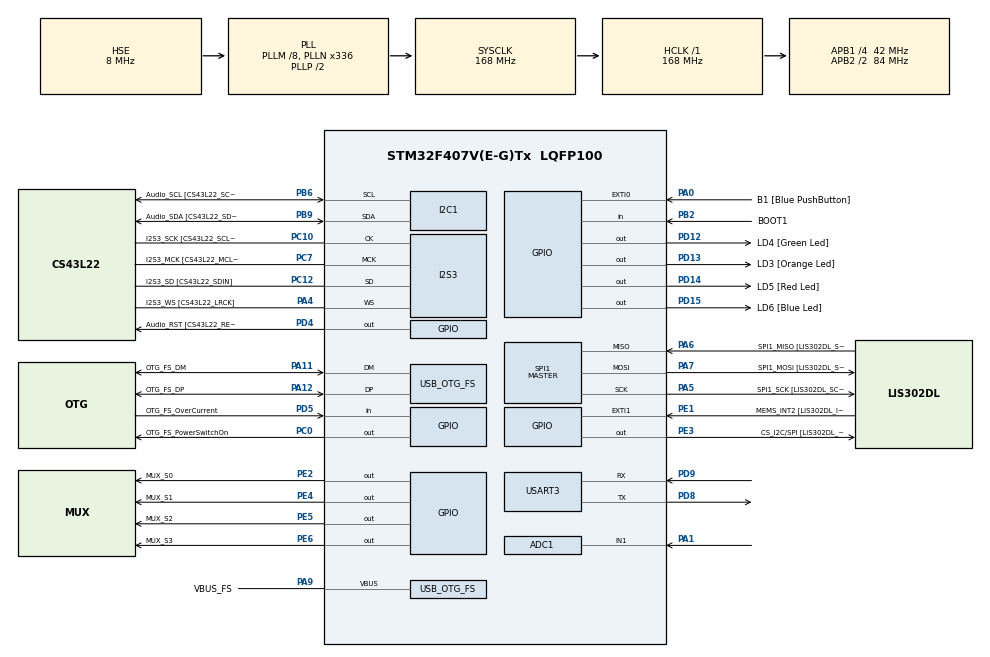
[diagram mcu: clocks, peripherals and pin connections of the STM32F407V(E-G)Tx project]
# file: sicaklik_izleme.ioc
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ADC1.Channel-1\#ChannelRegularConversion=ADC_CHANNEL_1
ADC1.NbrOfConversionFlag=1
ADC1.Rank-1\#ChannelRegularConversion=1
ADC1.SamplingTime-1\#ChannelRegularConversion=ADC_SAMPLETIME_480CYCLES
ADC1.master=1
I2S3.AudioFreq-Half_Duplex_Master=I2S_AUDIOFREQ_96K
I2S3.ErrorAudioFreq=-2.34 %
I2S3.ErrorAudioFreq-Half_Duplex_Master=0.8 %
I2S3.FullDuplexMode=I2S_FULLDUPLEXMODE_DISABLE
I2S3.Instance=SPI$Index
I2S3.RealAudioFreq=93.75 KHz
I2S3.RealAudioFreq-Half_Duplex_Master=96.774 KHz
I2S3.VirtualMode=I2S_MODE_MASTER
Mcu.Family=STM32F4
Mcu.Name=STM32F407V(E-G)Tx
Mcu.Package=LQFP100
NVIC.OTG_FS_IRQn=true\:0\:0\:false\:false\:true\:true\:true\:true
NVIC.PriorityGroup=NVIC_PRIORITYGROUP_0
PA0-WKUP.GPIO_Label=B1 [Blue PushButton]
PA0-WKUP.GPIO_ModeDefaultEXTI=GPIO_MODE_EVT_RISING
PA0-WKUP.GPIO_PuPd=GPIO_NOPULL
PA0-WKUP.Signal=GPXTI0
PA1.Signal=ADCx_IN1
PA10.GPIO_Label=OTG_FS_ID
PA10.GPIO_Mode=GPIO_MODE_AF_PP
PA10.GPIO_PuPd=GPIO_NOPULL
PA10.GPIO_Speed=GPIO_SPEED_FREQ_LOW
PA10.Signal=USB_OTG_FS_ID
PA11.GPIO_Label=OTG_FS_DM
PA11.GPIO_Mode=GPIO_MODE_AF_PP
PA11.GPIO_PuPd=GPIO_NOPULL
PA11.GPIO_Speed=GPIO_SPEED_FREQ_LOW
PA11.Mode=Host_Only
PA11.Signal=USB_OTG_FS_DM
PA12.GPIO_Label=OTG_FS_DP
PA12.GPIO_Mode=GPIO_MODE_AF_PP
PA12.GPIO_PuPd=GPIO_NOPULL
PA12.GPIO_Speed=GPIO_SPEED_FREQ_LOW
PA12.Mode=Host_Only
PA12.Signal=USB_OTG_FS_DP
PA13.GPIO_Label=SWDIO
PA13.Mode=Serial_Wire
PA13.Signal=SYS_JTMS-SWDIO
PA14.GPIO_Label=SWCLK
PA14.Mode=Serial_Wire
PA14.Signal=SYS_JTCK-SWCLK
PA4.GPIO_Label=I2S3_WS [CS43L22_LRCK]
PA4.GPIO_Mode=GPIO_MODE_AF_PP
PA4.GPIO_PuPd=GPIO_NOPULL
PA4.GPIO_Speed=GPIO_SPEED_FREQ_LOW
PA4.Mode=Half_Duplex_Master
PA4.Signal=I2S3_WS
PA5.GPIO_Label=SPI1_SCK [LIS302DL_SCL/SPC]
PA5.GPIO_Mode=GPIO_MODE_AF_PP
PA5.GPIO_PuPd=GPIO_NOPULL
PA5.GPIO_Speed=GPIO_SPEED_FREQ_LOW
PA5.Mode=Full_Duplex_Master
PA5.Signal=SPI1_SCK
PA6.GPIO_Label=SPI1_MISO [LIS302DL_SDO]
PA6.GPIO_Mode=GPIO_MODE_AF_PP
PA6.GPIO_PuPd=GPIO_NOPULL
PA6.GPIO_Speed=GPIO_SPEED_FREQ_LOW
PA6.Mode=Full_Duplex_Master
PA6.Signal=SPI1_MISO
PA7.GPIO_Label=SPI1_MOSI [LIS302DL_SDA/SDI/SDO]
PA7.GPIO_Mode=GPIO_MODE_AF_PP
PA7.GPIO_PuPd=GPIO_NOPULL
PA7.GPIO_Speed=GPIO_SPEED_FREQ_LOW
PA7.Mode=Full_Duplex_Master
PA7.Signal=SPI1_MOSI
PA9.GPIO_Label=VBUS_FS
PA9.GPIO_Mode=GPIO_MODE_INPUT
PA9.GPIO_PuPd=GPIO_NOPULL
PA9.Mode=Activate_VBUS
PA9.Signal=USB_OTG_FS_VBUS
PB10.GPIO_Label=CLK_IN [MP45DT02_CLK]
PB10.GPIO_Mode=GPIO_MODE_AF_PP
PB10.GPIO_PuPd=GPIO_NOPULL
PB10.GPIO_Speed=GPIO_SPEED_FREQ_LOW
PB10.Signal=I2S2_CK
PB2.GPIO_Label=BOOT1
PB2.GPIO_Mode=GPIO_MODE_INPUT
PB2.GPIO_PuPd=GPIO_NOPULL
PB2.Signal=GPIO_Input
PB3.GPIO_Label=SWO
PB3.Signal=SYS_JTDO-SWO
PB6.GPIO_Label=Audio_SCL [CS43L22_SCL]
PB6.GPIO_Mode=GPIO_MODE_AF_OD
PB6.GPIO_Pu=GPIO_PULLUP
PB6.GPIO_PuPd=GPIO_NOPULL
PB6.GPIO_Speed=GPIO_SPEED_FREQ_LOW
PB6.Mode=I2C
PB6.Signal=I2C1_SCL
PB9.GPIO_Label=Audio_SDA [CS43L22_SDA]
PB9.GPIO_Mode=GPIO_MODE_AF_OD
PB9.GPIO_Pu=GPIO_PULLUP
PB9.GPIO_PuPd=GPIO_NOPULL
PB9.GPIO_Speed=GPIO_SPEED_FREQ_LOW
PB9.Mode=I2C
PB9.Signal=I2C1_SDA
PC0.GPIO_Label=OTG_FS_PowerSwitchOn
PC0.GPIO_PuPd=GPIO_NOPULL
PC0.GPIO_Speed=GPIO_SPEED_FREQ_LOW
PC0.PinState=GPIO_PIN_SET
PC0.Signal=GPIO_Output
PC10.GPIO_Label=I2S3_SCK [CS43L22_SCLK]
PC10.GPIO_Mode=GPIO_MODE_AF_PP
PC10.GPIO_PuPd=GPIO_NOPULL
PC10.GPIO_Speed=GPIO_SPEED_FREQ_LOW
PC10.Mode=Half_Duplex_Master
PC10.Signal=I2S3_CK
PC12.GPIO_Label=I2S3_SD [CS43L22_SDIN]
PC12.GPIO_Mode=GPIO_MODE_AF_PP
PC12.GPIO_PuPd=GPIO_NOPULL
PC12.GPIO_Speed=GPIO_SPEED_FREQ_LOW
PC12.Mode=Half_Duplex_Master
PC12.Signal=I2S3_SD
PC14-OSC32_IN.GPIO_Label=PC14-OSC32_IN
PC14-OSC32_IN.Mode=LSE-External-Oscillator
PC14-OSC32_IN.Signal=RCC_OSC32_IN
PC15-OSC32_OUT.GPIO_Label=PC15-OSC32_OUT
PC15-OSC32_OUT.Mode=LSE-External-Oscillator
PC15-OSC32_OUT.Signal=RCC_OSC32_OUT
PC3.GPIO_Label=PDM_OUT [MP45DT02_DOUT]
PC3.GPIO_Mode=GPIO_MODE_AF_PP
PC3.GPIO_PuPd=GPIO_NOPULL
PC3.GPIO_Speed=GPIO_SPEED_FREQ_LOW
PC3.Signal=I2S2_SD
PC7.GPIO_Label=I2S3_MCK [CS43L22_MCLK]
PC7.GPIO_Mode=GPIO_MODE_AF_PP
PC7.GPIO_PuPd=GPIO_NOPULL
PC7.GPIO_Speed=GPIO_SPEED_FREQ_LOW
PC7.Mode=Master_Clock_Activated
PC7.Signal=I2S3_MCK
PD12.GPIO_Label=LD4 [Green Led]
PD12.GPIO_PuPd=GPIO_NOPULL
PD12.GPIO_Speed=GPIO_SPEED_FREQ_LOW
PD12.Signal=GPIO_Output
PD13.GPIO_Label=LD3 [Orange Led]
PD13.GPIO_PuPd=GPIO_NOPULL
PD13.GPIO_Speed=GPIO_SPEED_FREQ_LOW
PD13.Signal=GPIO_Output
PD14.GPIO_Label=LD5 [Red Led]
PD14.GPIO_PuPd=GPIO_NOPULL
PD14.GPIO_Speed=GPIO_SPEED_FREQ_LOW
PD14.Signal=GPIO_Output
PD15.GPIO_Label=LD6 [Blue Led]
PD15.GPIO_PuPd=GPIO_NOPULL
PD15.GPIO_Speed=GPIO_SPEED_FREQ_LOW
PD15.Signal=GPIO_Output
PD4.GPIO_Label=Audio_RST [CS43L22_RESET]
PD4.GPIO_PuPd=GPIO_NOPULL
PD4.GPIO_Speed=GPIO_SPEED_FREQ_LOW
PD4.Signal=GPIO_Output
PD5.GPIO_Label=OTG_FS_OverCurrent
PD5.GPIO_Mode=GPIO_MODE_INPUT
PD5.GPIO_PuPd=GPIO_NOPULL
PD5.Signal=GPIO_Input
PD8.Mode=Asynchronous
PD8.Signal=USART3_TX
PD9.Mode=Asynchronous
PD9.Signal=USART3_RX
PE1.GPIO_Label=MEMS_INT2 [LIS302DL_INT2]
PE1.GPIO_ModeDefaultEXTI=GPIO_MODE_EVT_RISING
PE1.GPIO_PuPd=GPIO_NOPULL
PE1.Signal=GPXTI1
PE2.GPIO_Label=MUX_S0
PE2.Signal=GPIO_Output
PE3.GPIO_Label=CS_I2C/SPI [LIS302DL_CS_I2C/SPI]
PE3.GPIO_PuPd=GPIO_NOPULL
PE3.GPIO_Speed=GPIO_SPEED_FREQ_LOW
PE3.Signal=GPIO_Output
PE4.GPIO_Label=MUX_S1
PE4.Signal=GPIO_Output
PE5.GPIO_Label=MUX_S2
PE5.Signal=GPIO_Output
PE6.GPIO_Label=MUX_S3
PE6.Signal=GPIO_Output
PH0-OSC_IN.GPIO_Label=PH0-OSC_IN
PH0-OSC_IN.Mode=HSE-External-Oscillator
PH0-OSC_IN.Signal=RCC_OSC_IN
PH1-OSC_OUT.GPIO_Label=PH1-OSC_OUT
PH1-OSC_OUT.Mode=HSE-External-Oscillator
PH1-OSC_OUT.Signal=RCC_OSC_OUT
ProjectManager.HeapSize=0x200
ProjectManager.StackSize=0x400
ProjectManager.TargetToolchain=STM32CubeIDE
RCC.48MHZClocksFreq_Value=48000000
RCC.AHBFreq_Value=168000000
RCC.APB1CLKDivider=RCC_HCLK_DIV4
RCC.APB1Freq_Value=42000000
RCC.APB1TimFreq_Value=84000000
RCC.APB2CLKDivider=RCC_HCLK_DIV2
RCC.APB2Freq_Value=84000000
RCC.APB2TimFreq_Value=168000000
RCC.CortexFreq_Value=168000000
RCC.HCLKFreq_Value=168000000
RCC.HSE_VALUE=8000000
RCC.HSI_VALUE=16000000
RCC.PLLM=8
RCC.PLLN=336
RCC.PLLQ=7
RCC.SYSCLKFreq_VALUE=168000000
RCC.SYSCLKSource=RCC_SYSCLKSOURCE_PLLCLK
RCC.VCOOutputFreq_Value=336000000
SH.ADCx_IN1.0=ADC1_IN1,IN1
SPI1.BaudRatePrescaler-Full_Duplex_Master=SPI_BAUDRATEPRESCALER_2
SPI1.CalculateBaudRate-Full_Duplex_Master=42.0 MBits/s
SPI1.Direction=SPI_DIRECTION_2LINES
SPI1.Mode=SPI_MODE_MASTER
SPI1.Mode-Full_Duplex_Master=SPI_MODE_MASTER
SPI1.VirtualType=VM_MASTER
USART3.VirtualMode=VM_ASYNC
USB_HOST.BSP.number=1
USB_HOST.USBH_HandleTypeDef-CDC_FS=hUsbHostFS
USB_HOST.VirtualModeFS=Cdc
USB_HOST0.BSP.STBoard=false
USB_HOST0.BSP.api=Unknown
USB_HOST0.BSP.instance=PC0
USB_HOST0.BSP.ip=GPIO
USB_HOST0.BSP.mode=Output
USB_HOST0.BSP.name=Drive_VBUS_FS
USB_HOST0.BSP.solution=PC0
USB_OTG_FS.VirtualMode=Host_Only
USB_OTG_FS.phy_itface=HCD_PHY_EMBEDDED
VP_USB_HOST_VS_USB_HOST_CDC_FS.Mode=CDC_FS
board=STM32F407G-DISC1

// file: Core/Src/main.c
/* USER CODE BEGIN Header */
/**
  ******************************************************************************
  * @file           : main.c
  * @brief          : Main program body
  ******************************************************************************
  * @attention
  *
  * Copyright (c) 2026 STMicroelectronics.
  * All rights reserved.
  *
  * This software is licensed under terms that can be found in the LICENSE file
  * in the root directory of this software component.
  * If no LICENSE file comes with this software, it is provided AS-IS.
  *
  ******************************************************************************
  */
/* USER CODE END Header */
#include "main.h"
#include "usb_host.h"

/* USER CODE BEGIN Includes */

#include "math.h"
#include <stdio.h>

/* USER CODE END Includes */

ADC_HandleTypeDef hadc1;

I2C_HandleTypeDef hi2c1;

I2S_HandleTypeDef hi2s3;

SPI_HandleTypeDef hspi1;

UART_HandleTypeDef huart3;

void SystemClock_Config(void);
static void MX_GPIO_Init(void);
static void MX_I2C1_Init(void);
static void MX_I2S3_Init(void);
static void MX_SPI1_Init(void);
static void MX_ADC1_Init(void);
static void MX_USART3_UART_Init(void);
void MX_USB_HOST_Process(void);

/* USER CODE BEGIN PFP */

void mux_kanal_sec(uint8_t kanal);
float adc_oku_gerilim(void);
float gerilimden_sicaklik(float v_olcum);

/* USER CODE END PFP */

int main(void)
{

  /* MCU Configuration--------------------------------------------------------*/

  /* Reset of all peripherals, Initializes the Flash interface and the Systick. */
  HAL_Init();

  /* Configure the system clock */
  SystemClock_Config();

  /* Initialize all configured peripherals */
  MX_GPIO_Init();
  MX_I2C1_Init();
  MX_I2S3_Init();
  MX_SPI1_Init();
  MX_USB_HOST_Init();
  MX_ADC1_Init();
  MX_USART3_UART_Init();

  /* Infinite loop */
  /* USER CODE BEGIN WHILE */
  while (1)
  {
      for (uint8_t kanal = 0; kanal < 3; kanal++) {
          mux_kanal_sec(kanal);
          float v = adc_oku_gerilim();
          float t = gerilimden_sicaklik(v);
          printf("C%d -> V: %.3f V | T: %.1f C\r\n", kanal, v, t);
      }
      printf("---\r\n");
      HAL_Delay(500);
    /* USER CODE END WHILE */
    MX_USB_HOST_Process();

  }
}

void SystemClock_Config(void)
{
  RCC_OscInitTypeDef RCC_OscInitStruct = {0};
  RCC_ClkInitTypeDef RCC_ClkInitStruct = {0};

  /** Configure the main internal regulator output voltage
  */
  __HAL_RCC_PWR_CLK_ENABLE();
  __HAL_PWR_VOLTAGESCALING_CONFIG(PWR_REGULATOR_VOLTAGE_SCALE1);

  /** Initializes the RCC Oscillators according to the specified parameters
  * in the RCC_OscInitTypeDef structure.
  */
  RCC_OscInitStruct.OscillatorType = RCC_OSCILLATORTYPE_HSE;
  RCC_OscInitStruct.HSEState = RCC_HSE_ON;
  RCC_OscInitStruct.PLL.PLLState = RCC_PLL_ON;
  RCC_OscInitStruct.PLL.PLLSource = RCC_PLLSOURCE_HSE;
  RCC_OscInitStruct.PLL.PLLM = 8;
  RCC_OscInitStruct.PLL.PLLN = 336;
  RCC_OscInitStruct.PLL.PLLP = RCC_PLLP_DIV2;
  RCC_OscInitStruct.PLL.PLLQ = 7;
  if (HAL_RCC_OscConfig(&RCC_OscInitStruct) != HAL_OK)
  {
    Error_Handler();
  }

  /** Initializes the CPU, AHB and APB buses clocks
  */
  RCC_ClkInitStruct.ClockType = RCC_CLOCKTYPE_HCLK|RCC_CLOCKTYPE_SYSCLK
                              |RCC_CLOCKTYPE_PCLK1|RCC_CLOCKTYPE_PCLK2;
  RCC_ClkInitStruct.SYSCLKSource = RCC_SYSCLKSOURCE_PLLCLK;
  RCC_ClkInitStruct.AHBCLKDivider = RCC_SYSCLK_DIV1;
  RCC_ClkInitStruct.APB1CLKDivider = RCC_HCLK_DIV4;
  RCC_ClkInitStruct.APB2CLKDivider = RCC_HCLK_DIV2;

  if (HAL_RCC_ClockConfig(&RCC_ClkInitStruct, FLASH_LATENCY_5) != HAL_OK)
  {
    Error_Handler();
  }
}

static void MX_ADC1_Init(void)
{

  ADC_ChannelConfTypeDef sConfig = {0};

  /** Configure the global features of the ADC (Clock, Resolution, Data Alignment and number of conversion)
  */
  hadc1.Instance = ADC1;
  hadc1.Init.ClockPrescaler = ADC_CLOCK_SYNC_PCLK_DIV4;
  hadc1.Init.Resolution = ADC_RESOLUTION_12B;
  hadc1.Init.ScanConvMode = DISABLE;
  hadc1.Init.ContinuousConvMode = DISABLE;
  hadc1.Init.DiscontinuousConvMode = DISABLE;
  hadc1.Init.ExternalTrigConvEdge = ADC_EXTERNALTRIGCONVEDGE_NONE;
  hadc1.Init.ExternalTrigConv = ADC_SOFTWARE_START;
  hadc1.Init.DataAlign = ADC_DATAALIGN_RIGHT;
  hadc1.Init.NbrOfConversion = 1;
  hadc1.Init.DMAContinuousRequests = DISABLE;
  hadc1.Init.EOCSelection = ADC_EOC_SINGLE_CONV;
  if (HAL_ADC_Init(&hadc1) != HAL_OK)
  {
    Error_Handler();
  }

  /** Configure for the selected ADC regular channel its corresponding rank in the sequencer and its sample time.
  */
  sConfig.Channel = ADC_CHANNEL_1;
  sConfig.Rank = 1;
  sConfig.SamplingTime = ADC_SAMPLETIME_480CYCLES;
  if (HAL_ADC_ConfigChannel(&hadc1, &sConfig) != HAL_OK)
  {
    Error_Handler();
  }

}

static void MX_I2C1_Init(void)
{

  hi2c1.Instance = I2C1;
  hi2c1.Init.ClockSpeed = 100000;
  hi2c1.Init.DutyCycle = I2C_DUTYCYCLE_2;
  hi2c1.Init.OwnAddress1 = 0;
  hi2c1.Init.AddressingMode = I2C_ADDRESSINGMODE_7BIT;
  hi2c1.Init.DualAddressMode = I2C_DUALADDRESS_DISABLE;
  hi2c1.Init.OwnAddress2 = 0;
  hi2c1.Init.GeneralCallMode = I2C_GENERALCALL_DISABLE;
  hi2c1.Init.NoStretchMode = I2C_NOSTRETCH_DISABLE;
  if (HAL_I2C_Init(&hi2c1) != HAL_OK)
  {
    Error_Handler();
  }

}

static void MX_I2S3_Init(void)
{

  hi2s3.Instance = SPI3;
  hi2s3.Init.Mode = I2S_MODE_MASTER_TX;
  hi2s3.Init.Standard = I2S_STANDARD_PHILIPS;
  hi2s3.Init.DataFormat = I2S_DATAFORMAT_16B;
  hi2s3.Init.MCLKOutput = I2S_MCLKOUTPUT_ENABLE;
  hi2s3.Init.AudioFreq = I2S_AUDIOFREQ_96K;
  hi2s3.Init.CPOL = I2S_CPOL_LOW;
  hi2s3.Init.ClockSource = I2S_CLOCK_PLL;
  hi2s3.Init.FullDuplexMode = I2S_FULLDUPLEXMODE_DISABLE;
  if (HAL_I2S_Init(&hi2s3) != HAL_OK)
  {
    Error_Handler();
  }

}

static void MX_SPI1_Init(void)
{

  /* SPI1 parameter configuration*/
  hspi1.Instance = SPI1;
  hspi1.Init.Mode = SPI_MODE_MASTER;
  hspi1.Init.Direction = SPI_DIRECTION_2LINES;
  hspi1.Init.DataSize = SPI_DATASIZE_8BIT;
  hspi1.Init.CLKPolarity = SPI_POLARITY_LOW;
  hspi1.Init.CLKPhase = SPI_PHASE_1EDGE;
  hspi1.Init.NSS = SPI_NSS_SOFT;
  hspi1.Init.BaudRatePrescaler = SPI_BAUDRATEPRESCALER_2;
  hspi1.Init.FirstBit = SPI_FIRSTBIT_MSB;
  hspi1.Init.TIMode = SPI_TIMODE_DISABLE;
  hspi1.Init.CRCCalculation = SPI_CRCCALCULATION_DISABLE;
  hspi1.Init.CRCPolynomial = 10;
  if (HAL_SPI_Init(&hspi1) != HAL_OK)
  {
    Error_Handler();
  }

}

static void MX_USART3_UART_Init(void)
{

  huart3.Instance = USART3;
  huart3.Init.BaudRate = 115200;
  huart3.Init.WordLength = UART_WORDLENGTH_8B;
  huart3.Init.StopBits = UART_STOPBITS_1;
  huart3.Init.Parity = UART_PARITY_NONE;
  huart3.Init.Mode = UART_MODE_TX_RX;
  huart3.Init.HwFlowCtl = UART_HWCONTROL_NONE;
  huart3.Init.OverSampling = UART_OVERSAMPLING_16;
  if (HAL_UART_Init(&huart3) != HAL_OK)
  {
    Error_Handler();
  }

}

static void MX_GPIO_Init(void)
{
  GPIO_InitTypeDef GPIO_InitStruct = {0};

  /* GPIO Ports Clock Enable */
  __HAL_RCC_GPIOE_CLK_ENABLE();
  __HAL_RCC_GPIOC_CLK_ENABLE();
  __HAL_RCC_GPIOH_CLK_ENABLE();
  __HAL_RCC_GPIOA_CLK_ENABLE();
  __HAL_RCC_GPIOB_CLK_ENABLE();
  __HAL_RCC_GPIOD_CLK_ENABLE();

  /*Configure GPIO pin Output Level */
  HAL_GPIO_WritePin(GPIOE, MUX_S0_Pin|CS_I2C_SPI_Pin|MUX_S1_Pin|MUX_S2_Pin
                          |MUX_S3_Pin, GPIO_PIN_RESET);

  /*Configure GPIO pin Output Level */
  HAL_GPIO_WritePin(OTG_FS_PowerSwitchOn_GPIO_Port, OTG_FS_PowerSwitchOn_Pin, GPIO_PIN_SET);

  /*Configure GPIO pin Output Level */
  HAL_GPIO_WritePin(GPIOD, LD4_Pin|LD3_Pin|LD5_Pin|LD6_Pin
                          |Audio_RST_Pin, GPIO_PIN_RESET);

  /*Configure GPIO pins : MUX_S0_Pin CS_I2C_SPI_Pin MUX_S1_Pin MUX_S2_Pin
                           MUX_S3_Pin */
  GPIO_InitStruct.Pin = MUX_S0_Pin|CS_I2C_SPI_Pin|MUX_S1_Pin|MUX_S2_Pin
                          |MUX_S3_Pin;
  GPIO_InitStruct.Mode = GPIO_MODE_OUTPUT_PP;
  GPIO_InitStruct.Pull = GPIO_NOPULL;
  GPIO_InitStruct.Speed = GPIO_SPEED_FREQ_LOW;
  HAL_GPIO_Init(GPIOE, &GPIO_InitStruct);

  /*Configure GPIO pin : OTG_FS_PowerSwitchOn_Pin */
  GPIO_InitStruct.Pin = OTG_FS_PowerSwitchOn_Pin;
  GPIO_InitStruct.Mode = GPIO_MODE_OUTPUT_PP;
  GPIO_InitStruct.Pull = GPIO_NOPULL;
  GPIO_InitStruct.Speed = GPIO_SPEED_FREQ_LOW;
  HAL_GPIO_Init(OTG_FS_PowerSwitchOn_GPIO_Port, &GPIO_InitStruct);

  /*Configure GPIO pin : PDM_OUT_Pin */
  GPIO_InitStruct.Pin = PDM_OUT_Pin;
  GPIO_InitStruct.Mode = GPIO_MODE_AF_PP;
  GPIO_InitStruct.Pull = GPIO_NOPULL;
  GPIO_InitStruct.Speed = GPIO_SPEED_FREQ_LOW;
  GPIO_InitStruct.Alternate = GPIO_AF5_SPI2;
  HAL_GPIO_Init(PDM_OUT_GPIO_Port, &GPIO_InitStruct);

  /*Configure GPIO pin : B1_Pin */
  GPIO_InitStruct.Pin = B1_Pin;
  GPIO_InitStruct.Mode = GPIO_MODE_EVT_RISING;
  GPIO_InitStruct.Pull = GPIO_NOPULL;
  HAL_GPIO_Init(B1_GPIO_Port, &GPIO_InitStruct);

  /*Configure GPIO pin : BOOT1_Pin */
  GPIO_InitStruct.Pin = BOOT1_Pin;
  GPIO_InitStruct.Mode = GPIO_MODE_INPUT;
  GPIO_InitStruct.Pull = GPIO_NOPULL;
  HAL_GPIO_Init(BOOT1_GPIO_Port, &GPIO_InitStruct);

  /*Configure GPIO pin : CLK_IN_Pin */
  GPIO_InitStruct.Pin = CLK_IN_Pin;
  GPIO_InitStruct.Mode = GPIO_MODE_AF_PP;
  GPIO_InitStruct.Pull = GPIO_NOPULL;
  GPIO_InitStruct.Speed = GPIO_SPEED_FREQ_LOW;
  GPIO_InitStruct.Alternate = GPIO_AF5_SPI2;
  HAL_GPIO_Init(CLK_IN_GPIO_Port, &GPIO_InitStruct);

  /*Configure GPIO pins : LD4_Pin LD3_Pin LD5_Pin LD6_Pin
                           Audio_RST_Pin */
  GPIO_InitStruct.Pin = LD4_Pin|LD3_Pin|LD5_Pin|LD6_Pin
                          |Audio_RST_Pin;
  GPIO_InitStruct.Mode = GPIO_MODE_OUTPUT_PP;
  GPIO_InitStruct.Pull = GPIO_NOPULL;
  GPIO_InitStruct.Speed = GPIO_SPEED_FREQ_LOW;
  HAL_GPIO_Init(GPIOD, &GPIO_InitStruct);

  /*Configure GPIO pin : OTG_FS_OverCurrent_Pin */
  GPIO_InitStruct.Pin = OTG_FS_OverCurrent_Pin;
  GPIO_InitStruct.Mode = GPIO_MODE_INPUT;
  GPIO_InitStruct.Pull = GPIO_NOPULL;
  HAL_GPIO_Init(OTG_FS_OverCurrent_GPIO_Port, &GPIO_InitStruct);

  /*Configure GPIO pin : MEMS_INT2_Pin */
  GPIO_InitStruct.Pin = MEMS_INT2_Pin;
  GPIO_InitStruct.Mode = GPIO_MODE_EVT_RISING;
  GPIO_InitStruct.Pull = GPIO_NOPULL;
  HAL_GPIO_Init(MEMS_INT2_GPIO_Port, &GPIO_InitStruct);

}

/* USER CODE BEGIN 4 */

#define B_KATSAYI   3950.0f
#define R_NOMINAL   10000.0f
#define R_SABIT     10000.0f
#define T_NOMINAL   298.15f

void mux_kanal_sec(uint8_t kanal) {
    HAL_GPIO_WritePin(GPIOE, GPIO_PIN_2, (kanal & 0x01) ? GPIO_PIN_SET : GPIO_PIN_RESET);
    HAL_GPIO_WritePin(GPIOE, GPIO_PIN_4, (kanal & 0x02) ? GPIO_PIN_SET : GPIO_PIN_RESET);
    HAL_GPIO_WritePin(GPIOE, GPIO_PIN_5, (kanal & 0x04) ? GPIO_PIN_SET : GPIO_PIN_RESET);
    HAL_GPIO_WritePin(GPIOE, GPIO_PIN_6, (kanal & 0x08) ? GPIO_PIN_SET : GPIO_PIN_RESET);
    HAL_Delay(10);  // 2ms -> 10ms
}

float adc_oku_gerilim(void) {
    HAL_ADC_Start(&hadc1);
    HAL_ADC_PollForConversion(&hadc1, 10);
    HAL_ADC_GetValue(&hadc1);       // ilk okuma atılıyor (kalıntıyı temizler)
    HAL_ADC_Stop(&hadc1);

    HAL_ADC_Start(&hadc1);
    HAL_ADC_PollForConversion(&hadc1, 10);
    uint32_t raw = HAL_ADC_GetValue(&hadc1);  // gerçek okuma
    HAL_ADC_Stop(&hadc1);

    return (raw / 4095.0f) * 3.3f;
}

float gerilimden_sicaklik(float v_olcum) {
    if (v_olcum <= 0.01f) return -999.0f;
    float r_ntc = R_SABIT * (3.3f / v_olcum - 1.0f);
    float t_kelvin = 1.0f / (1.0f/T_NOMINAL + (1.0f/B_KATSAYI) * logf(r_ntc / R_NOMINAL));
    return t_kelvin - 273.15f;
}

int _write(int file, char *ptr, int len)
{
    HAL_UART_Transmit(&huart3, (uint8_t*)ptr, len, HAL_MAX_DELAY);
    return len;
}

/* USER CODE END 4 */

void Error_Handler(void)
{
  __disable_irq();
  while (1)
  {
  }
}
